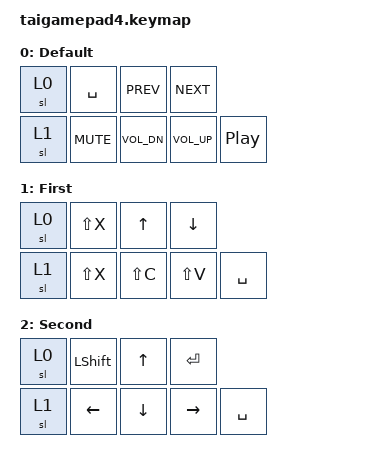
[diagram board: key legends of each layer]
/*
 * 
 *
 * SPDX-License-Identifier: MIT
 */

#include <behaviors.dtsi>
#include <dt-bindings/zmk/keys.h>

#define DEFAULT 0
#define FIRST 1
#define SECOND 2

/ {
    combos {
        compatible = "zmk,combos";
        combo_layer2 {
            timeout-ms = <50>;
            key-positions = <0 4>;
            bindings = <&sl 2>;
        };
    };
};

/ {
    keymap {
        compatible = "zmk,keymap";
        label = "taigamepad4";

        default_layer {
            label = "Default";
            bindings = <
&sl 0  &kp SPACE  &kp C_PREV  &kp  C_NEXT
&sl 1  &kp C_MUTE   &kp C_VOL_DN   &kp C_VOL_UP   &kp C_PLAY_PAUSE
            >;
        };


        first_layer {
            label = "First";
            bindings = <
&sl 0  &kp LS(X)   &kp UP_ARROW &kp  DOWN_ARROW
&sl 1  &kp LS(X)   &kp LS(C)    &kp  LS(V)   &kp SPACE
            >;
        };


        second_layer {
            label = "Second";
            bindings = <
&sl 0  &kp LSHFT       &kp UP_ARROW    &kp RET
&sl 1  &kp LEFT_ARROW  &kp DOWN_ARROW  &kp RIGHT_ARROW  &kp SPACE
            >;
        };
    };
};
